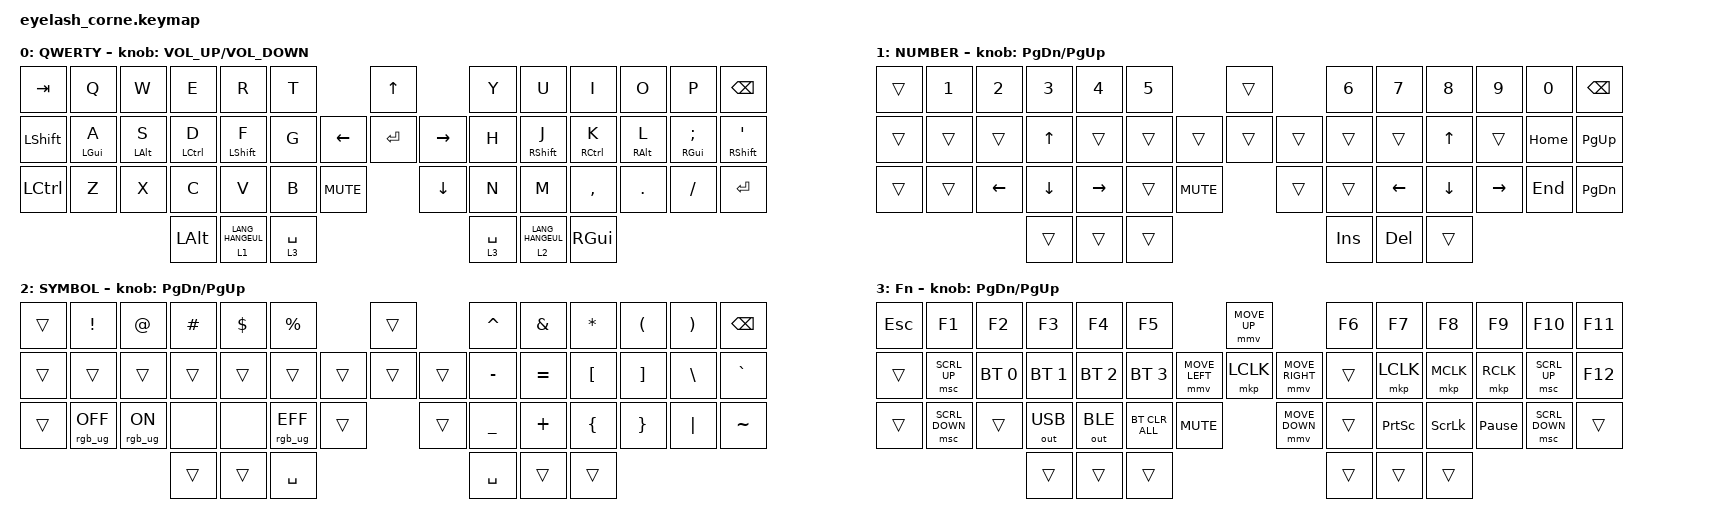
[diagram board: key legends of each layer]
#define ZMK_POINTING_DEFAULT_MOVE_VAL 500  // 600
#define ZMK_POINTING_DEFAULT_SCRL_VAL 25   // 10

#include <input/processors.dtsi>
#include <zephyr/dt-bindings/input/input-event-codes.h>
#include <behaviors.dtsi>
#include <dt-bindings/zmk/bt.h>
#include <dt-bindings/zmk/keys.h>
#include <dt-bindings/zmk/outputs.h>
#include <dt-bindings/zmk/pointing.h>
#include <dt-bindings/zmk/rgb.h>

&mmv_input_listener { input-processors = <&zip_xy_scaler 2 1>; };

&msc_input_listener { input-processors = <&zip_scroll_scaler 2 1>; };

&msc {
    acceleration-exponent = <1>;      // 0
    time-to-max-speed-ms = <100>;       // 300
    delay-ms = <0>;                   // 0
};

&mmv {
    time-to-max-speed-ms = <500>;
    acceleration-exponent = <1>;
    trigger-period-ms = <16>;
};

/ {
    behaviors {
        td0: td0 {
            compatible = "zmk,behavior-tap-dance";
            display-name = "Shift/Caps Lock Tap Dance";
            #binding-cells = <0>;
            bindings = <&kp LEFT_SHIFT>, <&kp CAPS>;
        };

        ht0: ht0 {
            compatible = "zmk,behavior-hold-tap";
            label = "HT0";
            bindings = <&kp>, <&kp>;

            #binding-cells = <2>;
            tapping-term-ms = <200>;
        };

        td1: td1 {
            compatible = "zmk,behavior-tap-dance";
            label = "TD1";
            #binding-cells = <0>;
            bindings = <&kp LEFT_ALT>, <&kp LANG_HANGEUL>;
        };

        scroll_encoder1: scroll_encoder1 {
            compatible = "zmk,behavior-sensor-rotate-var";
            label = "SCROLL_ENCODER1";
            #sensor-binding-cells = <2>;
            bindings = <&kp>, <&kp>;
        };

        home_row_mod_left: home_row_mod_left {
            compatible = "zmk,behavior-hold-tap";
            label = "HOME_ROW_MOD_LEFT";
            bindings = <&kp>, <&kp>;

            #binding-cells = <2>;
            tapping-term-ms = <280>;
            require-prior-idle-ms = <150>;
            quick-tap-ms = <175>;
            hold-trigger-key-positions = <7 8 9 10 11 12 22 23 24 25 26 27 36 37 38 39 40 41>;
            hold-trigger-on-release;
            flavor = "balanced";
        };

        home_row_mod_right: home_row_mod_right {
            compatible = "zmk,behavior-hold-tap";
            label = "HOME_ROW_MOD_RIGHT";
            bindings = <&kp>, <&kp>;

            #binding-cells = <2>;
            tapping-term-ms = <280>;
            require-prior-idle-ms = <150>;
            quick-tap-ms = <175>;
            hold-trigger-on-release;
            flavor = "balanced";
            hold-trigger-key-positions = <0 1 2 3 4 5 13 14 15 16 17 18 28 29 30 31 32 33>;
        };
    };

    rgb_encoder: rgb_encoder {
        compatible = "zmk,behavior-sensor-rotate";
        #sensor-binding-cells = <0>;
        bindings = <&rgb_ug RGB_BRI>, <&rgb_ug RGB_BRD>;
    };

    scroll_encoder: scroll_encoder {
        compatible = "zmk,behavior-sensor-rotate";
        #sensor-binding-cells = <0>;
        bindings = <&msc SCRL_DOWN>, <&msc SCRL_UP>;

        tap-ms = <100>;
    };

    combos { compatible = "zmk,combos"; };

    keymap {
        compatible = "zmk,keymap";

        default_layer {
            display-name = "QWERTY";
            bindings = <
&kp TAB         &kp Q                          &kp W                          &kp E                              &kp R                            &kp T                                &kp UP                &kp Y        &kp U                              &kp I                                &kp O                            &kp P                               &kp BSPC
&kp LEFT_SHIFT  &home_row_mod_left LEFT_GUI A  &home_row_mod_left LEFT_ALT S  &home_row_mod_left LEFT_CONTROL D  &home_row_mod_left LEFT_SHIFT F  &kp G                      &kp LEFT  &kp ENTER  &kp RIGHT  &kp H        &home_row_mod_right RIGHT_SHIFT J  &home_row_mod_right RIGHT_CONTROL K  &home_row_mod_right RIGHT_ALT L  &home_row_mod_right RIGHT_GUI SEMI  &ht0 RIGHT_SHIFT SINGLE_QUOTE
&kp LCTRL       &kp Z                          &kp X                          &kp C                              &kp V                            &kp B        &kp C_MUTE              &kp DOWN              &kp N        &kp M                              &kp COMMA                            &kp DOT                          &kp FSLH                            &kp RETURN
                                                                              &kp LEFT_ALT                       &lt 1 LANG_HANGEUL               &lt 3 SPACE                                                &lt 3 SPACE  &lt 2 LANG_HANGEUL                 &kp RIGHT_GUI
            >;

            sensor-bindings = <&inc_dec_kp C_VOLUME_UP C_VOLUME_DOWN>;
        };

        lower_layer {
            display-name = "NUMBER";
            bindings = <
&trans  &kp N1  &kp N2    &kp N3    &kp N4     &kp N5                        &trans          &kp N6      &kp N7    &kp N8    &kp N9     &kp N0    &kp BSPC
&trans  &trans  &trans    &kp UP    &trans     &trans                &trans  &trans  &trans  &trans      &trans    &kp UP    &trans     &kp HOME  &kp PG_UP
&trans  &trans  &kp LEFT  &kp DOWN  &kp RIGHT  &trans  &kp C_MUTE            &trans          &trans      &kp LEFT  &kp DOWN  &kp RIGHT  &kp END   &kp PG_DN
                          &trans    &trans     &trans                                        &kp INSERT  &kp DEL   &trans
            >;

            sensor-bindings = <&inc_dec_kp PG_DN PG_UP>;
        };

        raise_layer {
            display-name = "SYMBOL";
            bindings = <
&trans  &kp EXCL         &kp AT          &kp HASH  &kp DLLR  &kp PRCNT                          &trans          &kp CARET  &kp AMPS   &kp ASTRK  &kp LPAR  &kp RPAR  &kp BSPC
&trans  &trans           &trans          &trans    &trans    &trans                     &trans  &trans  &trans  &kp MINUS  &kp EQUAL  &kp LBKT   &kp RBKT  &kp BSLH  &kp GRAVE
&trans  &rgb_ug RGB_OFF  &rgb_ug RGB_ON  &none     &none     &rgb_ug RGB_EFF  &trans            &trans          &kp UNDER  &kp PLUS   &kp LBRC   &kp RBRC  &kp PIPE  &kp TILDE
                                         &trans    &trans    &kp SPACE                                          &kp SPACE  &trans     &trans
            >;

            sensor-bindings = <&inc_dec_kp PG_DN PG_UP>;
        };

        layer_3 {
            display-name = "Fn";
            bindings = <
&kp ESCAPE  &kp F1          &kp F2        &kp F3        &kp F4        &kp F5                                        &mmv MOVE_UP                     &kp F6  &kp F7           &kp F8          &kp F9           &kp F10         &kp F11
&trans      &msc SCRL_UP    &bt BT_SEL 0  &bt BT_SEL 1  &bt BT_SEL 2  &bt BT_SEL 3                  &mmv MOVE_LEFT  &mkp LCLK       &mmv MOVE_RIGHT  &trans  &mkp LCLK        &mkp MCLK       &mkp RCLK        &msc SCRL_UP    &kp F12
&trans      &msc SCRL_DOWN  &trans        &out OUT_USB  &out OUT_BLE  &bt BT_CLR_ALL  &kp C_MUTE                    &mmv MOVE_DOWN                   &trans  &kp PRINTSCREEN  &kp SCROLLLOCK  &kp PAUSE_BREAK  &msc SCRL_DOWN  &trans
                                          &trans        &trans        &trans                                                                         &trans  &trans           &trans
            >;

            sensor-bindings = <&inc_dec_kp PG_DN PG_UP>;
        };
    };
};
